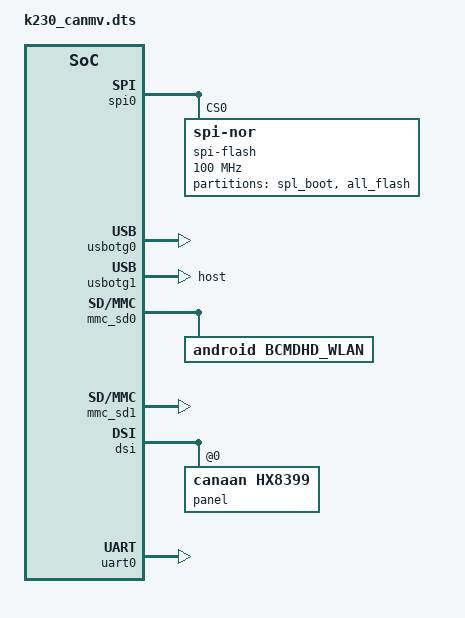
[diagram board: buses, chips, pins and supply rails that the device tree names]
/* Copyright (c) 2023, Canaan Bright Sight Co., Ltd
 *
 * This program is free software; you can redistribute it and/or modify
 * it under the terms of the GNU General Public License version 2 as
 * published by the Free Software Foundation.
*/
#include "k230.dtsi"
#include "clock_provider.dtsi"          /* k230 soc clock tree */
#include "clock_consumer.dtsi"          /* k230 soc clock consumer */
#include "reset_provider.dtsi"          /* k230 soc reset provider */
#include "reset_consumer.dtsi"          /* k230 soc reset consumer */
#include "power_provider.dtsi"          /* k230 soc power provider */
#include "power_consumer.dtsi"          /* k230 soc power consumer */
#include "gpio_provider.dtsi"           /* k230 soc gpio provider */
#include "gpio_consumer.dtsi"           /* k230 soc gpio consumer */


/ {
	aliases {
		serial0 = &uart0;
	};

	chosen {
		bootargs = "";
		linux,initrd-start = <0x0 0xa100000>;
		linux,initrd-end = <0x0 0x0>;
		stdout-path = "serial0:115200";
	};
};
&ddr {
	reg = <0x0 0x8200000 0x0 0x7dff000>;  /*linux memory config*/
};

&spi0 {
	status = "okay";
	spi-flash@0 {
		compatible = "jedec,spi-nor";
		//compatible = "spi-nand";
		//compatible = "rohm,dh2228fv";
		#address-cells = <1>;
		#size-cells = <1>;
		reg = <0>;
		spi-max-frequency = <100000000>;
		spi-tx-bus-width = <8>;
		spi-rx-bus-width = <8>;
		status = "okay";
		partitions {
			compatible = "fixed-partitions";
			#address-cells = <1>;
			#size-cells = <1>;

			partition@0 {
			/* spl boot */
			reg = <0x0 0x00080000>;
			label = "spl_boot";
			};
			partition@2000000 {
			/* 32MB for  update image*/
			reg = <0 0x2000000>;
			label = "all_flash";
			};
		};
	};

};

&usbotg0 {
	status = "okay";
};

&usbotg1 {
	dr_mode = "host";
	status = "okay";
};

&gpio52 {
	status = "okay";
};

&gpio53 {
	status = "okay";
};

&gpio_key {
	S2 {
		label = "gpio-key-52";
		linux,code = <106>;
		gpios = <&port52 0 GPIO_ACTIVE_LOW>;
		debounce-interval = <3>;
	};

	S1 {
		label = "gpio-key-53";
		linux,code = <105>;
		gpios = <&port53 0 GPIO_ACTIVE_HIGH>;
		debounce-interval = <3>;
	};
};

&mmc_sd0{
    status = "okay";
    io_fixed_1v8;
    rx_delay_line = <0x00>;
    tx_delay_line = <0x00>;
    bcmdhd_wlan {
        compatible = "android,bcmdhd_wlan";
    };
};

&mmc_sd1{
    status = "okay";
    no-1-8-v;
    cap-sd-highspeed;
    mshc_ctrl_r = <0x00>;
};

&dsi {
    status = "okay";

    panel@0 {
        compatible = "canaan,hx8399";
        reg = <0>;

        display-timings {
            timing-0 {
                clock-frequency = <74250000>;
                hactive = <1920>;
                vactive = <1080>;
                hfront-porch = <88>;
                hback-porch = <148>;
                hsync-len = <44>;
                vfront-porch = <36>;
                vback-porch = <4>;
                vsync-len = <5>;
            };
        };
    };
};

&uart0 {
	status = "okay";
};
